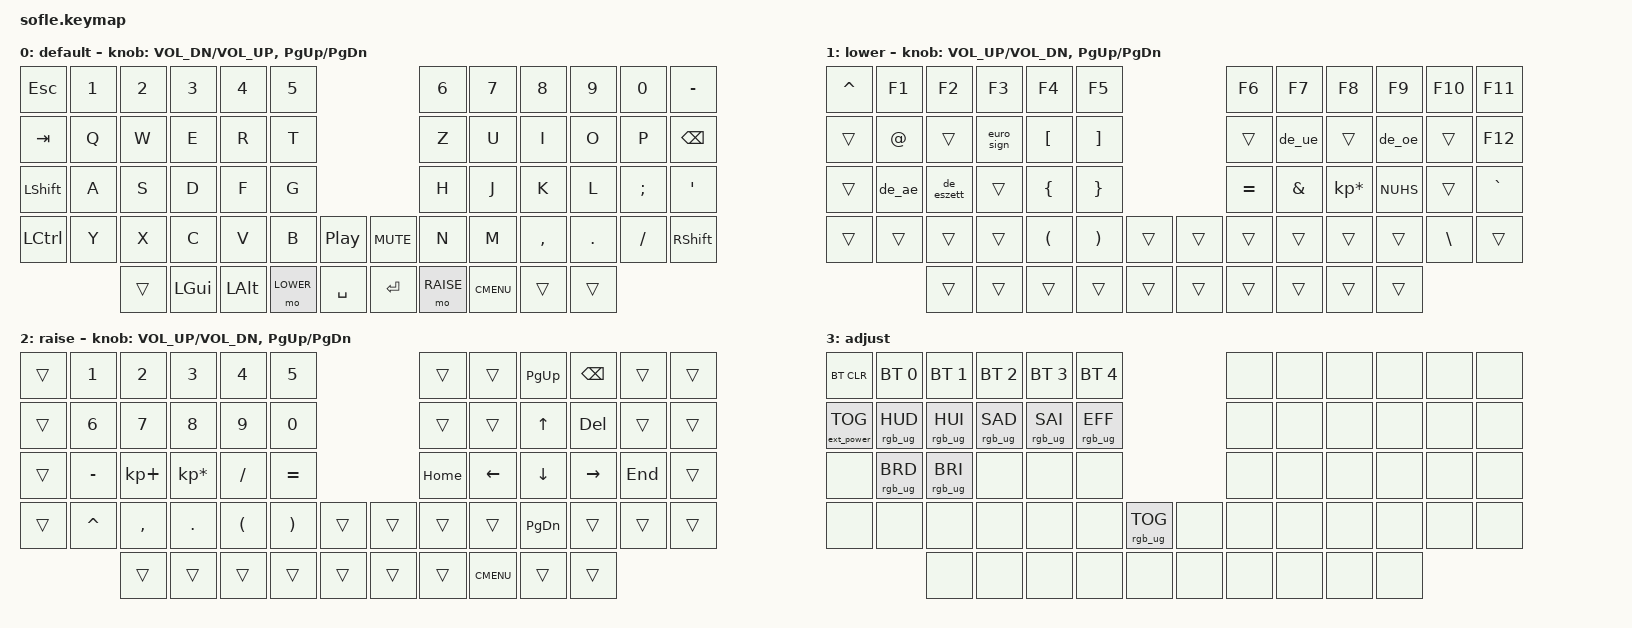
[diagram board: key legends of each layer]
/*
 * Copyright (c) 2020 The ZMK Contributors
 *
 * SPDX-License-Identifier: MIT
 */

#define BASE 0
#define LOWER 1
#define RAISE 2
#define ADJUST 3
#define OSHOST 0

#include <behaviors.dtsi>
#include <dt-bindings/zmk/bt.h>
#include <dt-bindings/zmk/ext_power.h>
#include <dt-bindings/zmk/keys.h>
#include <dt-bindings/zmk/rgb.h>

#include "../zmk-nodefree-config/helper.h"
#include "../zmk-nodefree-config/international_chars/german.dtsi"

// euro sign
ZMK_UNICODE_SINGLE(euro_sign, N2, N0, A, C)


/ {
    // Activate ADJUST layer by pressing raise and lower

    conditional_layers {
        compatible = "zmk,conditional-layers";

        adjust_layer {
            if-layers = <LOWER RAISE>;
            then-layer = <ADJUST>;
        };
    };

    keymap {
        compatible = "zmk,keymap";

        default_layer {
            display-name = "default";

            // ------------------------------------------------------------------------------------------------------------
            // |  ESC  |  1  |  2  |  3   |  4   |   5   |                             |   6   |   7   |  8    |  9   |   0   |       |
            // |  TAB  |  Q  |  W  |  E   |  R   |   T   |                             |   Z   |   U   |  I    |  O   |   P   | BKSPC |
            // | SHIFT |  A  |  S  |  D   |  F   |   G   |                             |   H   |   J   |  K    |  L   |   ;   |   '   |
            // | LCTRL |  Y  |  X  |  C   |  V   |   B   |  PLAY/PAUSE  |      | MUTE  |   N   |   M   |  ,    |  .   |   /   | SHIFT |
            //               |     | LGUI | LALT | LOWER |  SPACE       |      | ENTER | RAISE | CMENU |       |      |

            bindings = <
&kp ESC    &kp N1  &kp N2  &kp N3     &kp N4     &kp N5                                       &kp N6     &kp N7         &kp N8     &kp N9    &kp N0    &kp MINUS
&kp TAB    &kp Q   &kp W   &kp E      &kp R      &kp T                                        &kp Z      &kp U          &kp I      &kp O     &kp P     &kp BSPC
&kp LSHFT  &kp A   &kp S   &kp D      &kp F      &kp G                                        &kp H      &kp J          &kp K      &kp L     &kp SEMI  &kp SQT
&kp LCTRL  &kp Y   &kp X   &kp C      &kp V      &kp B      &kp C_PLAY_PAUSE    &kp K_MUTE    &kp N      &kp M          &kp COMMA  &kp DOT   &kp FSLH  &kp RSHFT
                   &trans  &kp LGUI   &kp LALT   &mo LOWER  &kp SPACE           &kp ENTER     &mo RAISE  &kp K_CMENU    &trans     &trans
            >;

            sensor-bindings =
                <&inc_dec_kp C_VOL_DN C_VOL_UP>,
                <&inc_dec_kp PG_UP PG_DN>;
        };

        lower_layer {
            display-name = "lower";

            // TODO: Some binds are waiting for shifted keycode support.
            // ------------------------------------------------------------------------------------------------------------
            // |   ^   |  F1 |  F2 |  F3  |  F4  |  F5  |                   |  F6  |  F7   |  F8   |  F9  |  F10  |  F11  |
            // |       |  @  |     |  €   |  {   |  }   |                   |      |  Ü    |       |  Ö   |       |  F12  |
            // |       |  Ä  |  ß  |      |  [   |  ]   |                   |  =   |  &    |  *    |      |       |   `   |
            // |       |     |     |      |  (   |  )   |        |  |       |      |       |       |      |   \   |       |
            //               |     |      |      |      |        |  |       |      |       |       |      |

            bindings = <
&kp CARET  &kp F1       &kp F2     &kp F3         &kp F4                &kp F5                                     &kp F6     &kp F7    &kp F8           &kp F9    &kp F10   &kp F11
&trans     &kp AT_SIGN  &trans     &euro_sign     &kp LEFT_BRACKET      &kp RIGHT_BRACKET                          &trans     &de_ue    &trans           &de_oe    &trans    &kp F12
&trans     &de_ae       &de_eszett &trans         &kp LEFT_BRACE        &kp RIGHT_BRACE                            &kp EQUAL  &kp AMPS  &kp KP_MULTIPLY  &kp NUHS  &trans    &kp GRAVE
&trans     &trans       &trans     &trans         &kp LEFT_PARENTHESIS  &kp RIGHT_PARENTHESIS  &trans    &trans    &trans     &trans    &trans           &trans    &kp BSLH  &trans
                        &trans     &trans         &trans                &trans                 &trans    &trans    &trans     &trans    &trans           &trans
            >;
        
            sensor-bindings = <&inc_dec_kp C_VOL_UP C_VOL_DN &inc_dec_kp PG_UP PG_DN>;
        };

        raise_layer {
            display-name = "raise";

// ------------------------------------------------------------------------------------------------------------
// |       |   1   |   2   |   3   |   4   |   5   |                |      |       |  PGUP   |  BKSPC  |       |       |
// |       |   6   |   7   |   8   |   9   |   0   |                |      |       |   ^     |  DEL    |       |       |
// |       |   -   |   +   |   *   |   /   |   =   |                | HOME |   <-  |   v     |  ->     |  END  |       |
// |       |   ^   |   ,   |   .   |   (   |   )   |      |  |      |      |       |  PGDN   |         |       |       |
//                 |       |       |       |       |      |  |      |      |       |         |         |

            bindings = <
&trans      &kp N1        &kp N2       &kp N3            &kp N4                &kp N5                                      &trans     &trans         &kp PG_UP    &kp BACKSPACE &trans     &trans
&trans      &kp N6        &kp N7       &kp N8            &kp N9                &kp N0                                      &trans     &trans         &kp UP       &kp DELETE    &trans     &trans
&trans      &kp MINUS     &kp KP_PLUS  &kp KP_MULTIPLY   &kp FSLH              &kp EQUAL                                   &kp HOME   &kp LEFT       &kp DOWN     &kp RIGHT     &kp END    &trans
&trans      &kp CARET     &kp COMMA    &kp DOT           &kp LEFT_PARENTHESIS  &kp RIGHT_PARENTHESIS     &trans    &trans  &trans     &trans         &kp PG_DN    &trans        &trans     &trans
                          &trans       &trans            &trans                &trans                    &trans    &trans  &trans     &kp K_CMENU    &trans       &trans
            >;

            sensor-bindings = <&inc_dec_kp C_VOL_UP C_VOL_DN &inc_dec_kp PG_UP PG_DN>;
        };

        adjust_layer {
            // ----------------------------------------------------------------------------------------------------------------------------
            // | BTCLR  |  BT1    |  BT2    |   BT3   |   BT4   |   BT5   |                  |      |      |       |      |       |       |
            // | EXTPWR | RGB_HUD | RGB_HUI | RGB_SAD | RGB_SAI | RGB_EFF |                  |      |      |       |      |       |       |
            // |        | RGB_BRD | RGB_BRI |         |         |         |                  |      |      |       |      |       |       |
            // |        |         |         |         |         |         | RGB_TOG | |      |      |      |       |      |       |       |
            //                    |         |         |         |         |         | |      |      |      |       |      |

            display-name = "adjust";
            bindings = <
&bt BT_CLR         &bt BT_SEL 0     &bt BT_SEL 1     &bt BT_SEL 2     &bt BT_SEL 3     &bt BT_SEL 4                               &none  &none  &none  &none  &none  &none
&ext_power EP_TOG  &rgb_ug RGB_HUD  &rgb_ug RGB_HUI  &rgb_ug RGB_SAD  &rgb_ug RGB_SAI  &rgb_ug RGB_EFF                            &none  &none  &none  &none  &none  &none
&none              &rgb_ug RGB_BRD  &rgb_ug RGB_BRI  &none            &none            &none                                      &none  &none  &none  &none  &none  &none
&none              &none            &none            &none            &none            &none            &rgb_ug RGB_TOG    &none  &none  &none  &none  &none  &none  &none
                                    &none            &none            &none            &none            &none              &none  &none  &none  &none  &none
            >;
        };
    };
};
